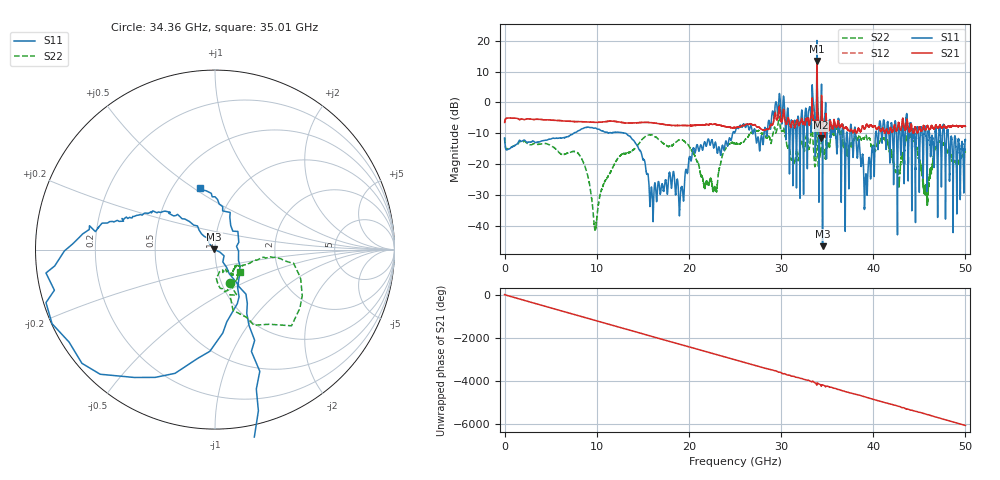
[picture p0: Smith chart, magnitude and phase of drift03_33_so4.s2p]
!Created with skrf (http://scikit-rf.org).
# Hz S RI R 50.0
!freq ReS11 ImS11 ReS21 ImS21 ReS12 ImS12 ReS22 ImS22
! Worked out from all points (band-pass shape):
!   10001 points, 300 kHz to 50 GHz, reference 50 ohm
!   highest |S21| = 13.41 dB at 33.9 GHz (marker M1); lowest = -11.4 dB at 34.32 GHz (marker M2)
!   |S21| within 3 dB of the highest: 33.89012 GHz to 33.90486 GHz (14.74 MHz wide, 0.0435 % of centre)
!   lowest |S11| = -46.6 dB at 34.5 GHz (marker M3), VSWR 1.01, Z = 49.5 + j0.0789 ohm
!   |S11| at or under -10 dB: start of sweep to 7.487 GHz; 13.14 GHz to 24.74 GHz (11.6 GHz wide, 61.3 % of centre); 38.09 GHz to 40.26 GHz (2.166 GHz wide, 5.53 % of centre) (the widest 3 of 51)
!   |S22| runs from -41.3 to 5.8 dB; largest |S21 - S12| = 0.34
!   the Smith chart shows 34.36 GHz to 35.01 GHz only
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300000  -0.237 -0.1198  0.4672 0.0792  0.4669 0.0799  -0.2367 -0.1266
1.440291e9  0.2101 0.0647  -0.5479 -0.0291  -0.5479 -0.0293  0.2113 -0.00392
2.915283e9  -0.2119 -0.0879  0.5339 0.0514  0.5349 0.0519  -0.2023 0.0399
4.415274e9  0.2061 0.1321  -0.5223 -0.0421  -0.5216 -0.042  0.198 -0.0872
8.33525e9  0.2888 -0.2333  0.1461 0.4661  0.146 0.4663  -0.0729 -0.1012
9.845241e9  -0.3637 0.1288  -0.1482 -0.4524  -0.1484 -0.4525  0.00848 0.00232
1.115523e10  0.317 0.0815  -0.0439 0.491  -0.0438 0.491  -0.0477 0.0384
1.263522e10  -0.3125 -0.0944  0.0295 -0.4746  0.031 -0.4755  0.0766 -0.1183
1.66702e10  0.0268 0.0442  -0.378 0.2536  -0.3791 0.2533  -0.1273 -0.2195
1.787019e10  0.0677 -0.0244  0.4293 0.0165  0.4287 0.0172  -0.0389 0.1922
2.281016e10  0.00213 0.2131  -0.2827 0.3423  -0.2824 0.343  -0.0325 0.0263
2.500015e10  -0.3264 -0.0147  -0.2549 -0.2966  -0.2535 -0.2989  -0.2136 0.0255
2.895513e10  -0.3248 0.4311  -0.289 0.3249  -0.2992 0.2898  0.0648 0.2199
3.006512e10  0.4015 0.2667  0.451 -0.1962  0.4542 -0.1832  0.1748 -0.297
3.171011e10  -0.0914 0.1837  -0.3654 0.3579  -0.3617 0.3543  0.065 0.1587
3.33351e10  0.5704 -0.8028  0.241 -0.8193  0.2409 -0.8091  -0.191 -0.4124
3.38951e10  -2.505 -9.777  -4.612 0.8197  -4.321 1.003  0.5119 1.888
3.432009e10  -0.7796 -0.00063  -0.1801 0.1984  -0.242 0.1778  0.1433 -0.0715
3.450009e10  -0.00463 0.000796  -0.4483 0.2943  -0.4153 0.2729  0.1921 -0.076
3.919506e10  0.0641 0.0149  0.2035 -0.3568  0.2085 -0.3504  -0.2704 -0.1207
4.167005e10  -0.1991 0.3062  0.3129 0.00483  0.3142 0.0108  -0.1921 -0.0101
5e10  -0.1198 -0.217  0.1419 0.3838  0.1425 0.3826  -0.0558 -0.1453
